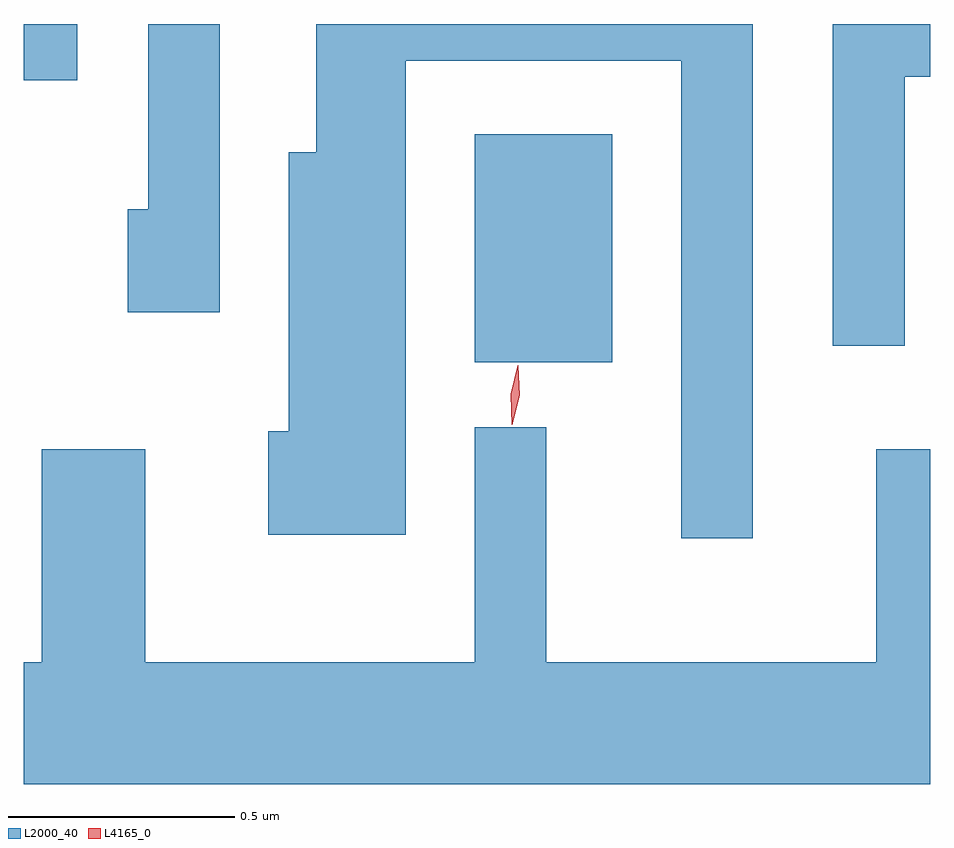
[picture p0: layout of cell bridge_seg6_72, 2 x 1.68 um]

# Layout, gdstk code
import gdstk
lib = gdstk.Library(unit=1e-6, precision=1e-09)
def R(c, l, rs):  # rectangles x0, y0, x1, y1
    for r in rs: c.add(gdstk.rectangle(r[:2], r[2:], *l))
def P(c, l, *ps):  # polygons
    for p in ps: c.add(gdstk.Polygon(p, *l))
L2000_40 = (2000, 40)
L4165_0 = (4165, 0)

bridge_seg6_72 = lib.new_cell('bridge_seg6_72')
R(bridge_seg6_72, L2000_40, [(1245.356,1610.906,1245.659,1611.409), (1244.361,1611.528,1244.479,1611.652)])
P(bridge_seg6_72, L2000_40, [(1244.794,1611.652),(1244.636,1611.652),(1244.636,1611.244),(1244.591,1611.244),(1244.591,1611.016),(1244.794,1611.016)],
  [(1246.304,1611.536),(1246.361,1611.536),(1246.361,1611.652),(1246.146,1611.652),(1246.146,1610.943),(1246.304,1610.943)],
  [(1245.969,1611.652),(1245.006,1611.652),(1245.006,1611.369),(1244.946,1611.369),(1244.946,1610.754),(1244.901,1610.754),(1244.901,1610.526),(1245.204,1610.526),(1245.204,1611.571),(1245.811,1611.571),(1245.811,1610.518),(1245.969,1610.518)],
  [(1246.361,1610.714),(1246.241,1610.714),(1246.241,1610.244),(1245.514,1610.244),(1245.514,1610.763),(1245.356,1610.763),(1245.356,1610.244),(1244.629,1610.244),(1244.629,1610.714),(1244.401,1610.714),(1244.401,1610.244),(1244.361,1610.244),(1244.361,1609.976),(1246.361,1609.976)])
P(bridge_seg6_72, L4165_0, [(1245.438,1610.768),(1245.438,1610.768),(1245.435,1610.835),(1245.451,1610.899),(1245.451,1610.9),(1245.452,1610.899),(1245.455,1610.833),(1245.439,1610.768)])

lib.write_gds('bridge_seg6_72.gds')
